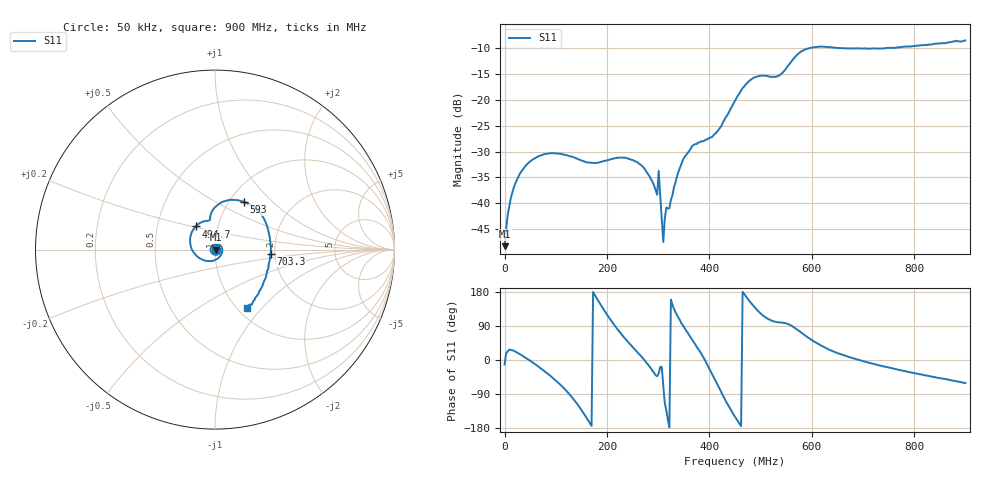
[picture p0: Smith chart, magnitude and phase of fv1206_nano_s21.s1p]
# Hz S RI R 50
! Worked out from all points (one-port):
!   303 points, 50 kHz to 900 MHz, reference 50 ohm
!   lowest |S11| = -48.2 dB at 50 kHz (marker M1), VSWR 1.01, Z = 50.4 - j0.0782 ohm
!   |S11| at or under -10 dB: start of sweep to 600.1 MHz; 645.7 MHz to 763.9 MHz (118.2 MHz wide, 16.8 % of centre)
!   S11 on the Smith chart (normalised r, x): 50 kHz: 1.01, -0.00; 494.7 MHz: 0.78, +0.21; 593 MHz: 1.16, +0.69; 703.3 MHz: 1.90, -0.10; 900 MHz: 1.11, -0.84
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50000  0.0038 -0.000776
6009200  0.00712 0.00296
1.19685e7  0.00993 0.00503
2.98463e7  0.0186 0.00519
6.56018e7  0.0272 -0.00823
1.132759e8  0.00977 -0.0281
1.758482e8  -0.0242 0.00318
2.265019e8  0.00891 0.0262
2.682167e8  0.0229 0.00293
2.980131e8  0.00889 -0.00823
3.009933e8  0.0167 -0.0119
3.099336e8  0.0016 -0.00394
3.129138e8  -0.00292 -0.00655
3.158939e8  -0.00621 -0.0067
3.218542e8  -0.00897 -0.000401
3.39735e8  -0.0073 0.0189
3.665561e8  0.0214 0.0288
4.023177e8  0.0378 -0.0209
4.529799e8  -0.0942 -0.0421
4.947018e8  -0.1075 0.1288
5.334435e8  -0.0289 0.1653
5.632448e8  0.0091 0.2438
5.930461e8  0.1594 0.2668
6.258277e8  0.2718 0.1738
6.764899e8  0.3095 0.0349
7.033111e8  0.3104 -0.0227
7.897349e8  0.2754 -0.1708
8.999998e8  0.1808 -0.3241
